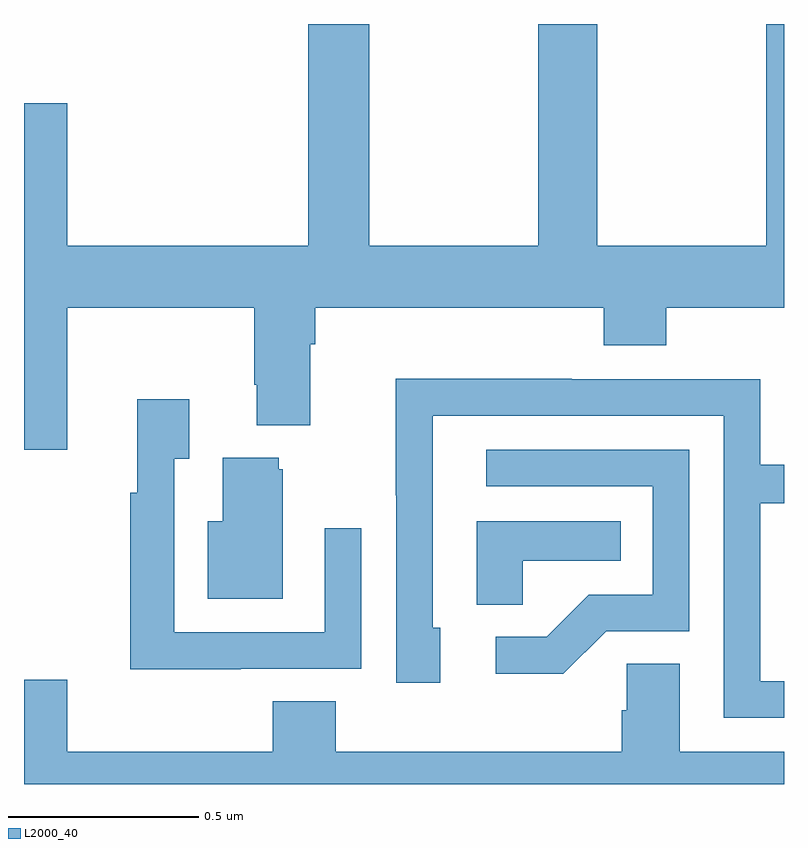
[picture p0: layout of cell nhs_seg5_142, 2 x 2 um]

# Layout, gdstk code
import gdstk
lib = gdstk.Library(unit=1e-6, precision=1e-09)
def P(c, l, *ps):  # polygons
    for p in ps: c.add(gdstk.Polygon(p, *l))
L2000_40 = (2000, 40)

nhs_seg5_142 = lib.new_cell('nhs_seg5_142')
P(nhs_seg5_142, L2000_40, [(112.114,898.052),(112.606,898.052),(112.606,897.85),(112.613,897.85),(112.613,897.743),(112.753,897.743),(112.753,897.956),(112.766,897.956),(112.766,898.052),(113.525,898.052),(113.525,897.953),(113.69,897.953),(113.69,898.052),(114,898.052),(114,898.799),(113.953,898.799),(113.953,898.216),(113.508,898.216),(113.508,898.799),(113.353,898.799),(113.353,898.216),(112.908,898.216),(112.908,898.799),(112.748,898.799),(112.748,898.216),(112.114,898.216),(112.114,898.591),(112,898.591),(112,897.678),(112.114,897.678)],
  [(114,897.069),(113.937,897.069),(113.937,897.538),(114,897.538),(114,897.639),(113.937,897.639),(113.937,897.864),(113.441,897.864),(113.441,897.866),(112.978,897.866),(112.978,897.559),(112.98,897.559),(112.98,897.066),(113.095,897.066),(113.095,897.21),(113.076,897.21),(113.076,897.768),(113.841,897.768),(113.841,896.973),(114,896.973)],
  [(112.571,897.102),(112.887,897.102),(112.887,897.472),(112.791,897.472),(112.791,897.198),(112.395,897.198),(112.395,897.655),(112.435,897.655),(112.435,897.811),(112.298,897.811),(112.298,897.566),(112.279,897.566),(112.279,897.101),(112.571,897.101)],
  [(113.532,897.201),(113.751,897.201),(113.751,897.678),(113.217,897.678),(113.217,897.582),(113.655,897.582),(113.655,897.297),(113.486,897.297),(113.375,897.186),(113.241,897.186),(113.241,897.089),(113.419,897.089)],
  [(112.681,897.627),(112.67,897.627),(112.67,897.658),(112.523,897.658),(112.523,897.49),(112.484,897.49),(112.484,897.287),(112.681,897.287)],
  [(113.313,897.386),(113.57,897.386),(113.57,897.49),(113.192,897.49),(113.192,897.271),(113.313,897.271)],
  [(114,896.884),(113.725,896.884),(113.725,897.116),(113.586,897.116),(113.586,896.993),(113.573,896.993),(113.573,896.884),(112.82,896.884),(112.82,897.017),(112.655,897.017),(112.655,896.884),(112.114,896.884),(112.114,897.073),(112,897.073),(112,896.799),(114,896.799)])

lib.write_gds('nhs_seg5_142.gds')
